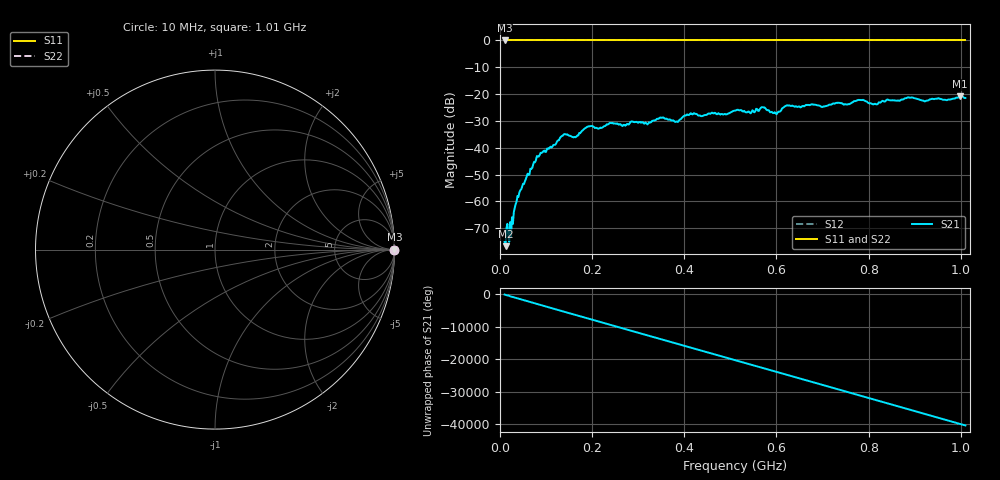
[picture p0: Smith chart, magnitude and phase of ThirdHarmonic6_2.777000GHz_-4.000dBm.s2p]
! 8/17/2025 7:05:53 AM
! C:\ANRITSUVNA\TEMP\TEMP.S2P
! CHANNEL.1
! TR.MEASUREMENT
! RAW.DATA
! RF.CORRECTION.OFF
! AVERAGING.OFF
! IF.BANDWIDTH: 5KHZ
! SWEEPTYPE:  FREQ.SWEEP(Linear)
! Reference Plane Port Info
! PORT:  PORT1  PORT2
! DISTANCE:  0  m  0  m
! TIME:  0  s  0  s
! PHASE.OFFSET:  0  deg.  0  deg.
! LOSS:  0  dB  0  dB
! REF.LOSS:  0  dB  0  dB
! REF.FREQ:  0  Hz  0  Hz
! Power Info
! POWER:  -20  dBm  -20  dBm
! EFF.POWER:  -20  dBm  -20  dBm
! SOURCE.ATTEN:  0  dB  0  dB
! TEST.ATTEN:  0  dB  0  dB
# GHZ S RI R 50.0
! FREQ.GHZ  S11RE  S11IM  S21RE  S21IM  S12RE  S12IM  S22RE  S22IM
!; PortSelection: Port_12
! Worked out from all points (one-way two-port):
!   501 points, 10 MHz to 1.01 GHz, reference 50 ohm
!   highest |S21| = -20.82 dB at 998 MHz (marker M1); lowest = -76.7 dB at 12 MHz (marker M2)
!   lowest |S11| = 0.0 dB at 10 MHz (marker M3)
!   |S11| at or under -10 dB: nowhere
!   |S22| runs from 0.0 to 0.0 dB; largest |S21 - S12| = 1.1
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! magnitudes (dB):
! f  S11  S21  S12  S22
! 10 MHz  0.0  -75.1  0.0  0.0
! 12 MHz  0.0  -76.7  0.0  0.0
! 24 MHz  0.0  -73.0  0.0  0.0
! 34 MHz  0.0  -61.0  0.0  0.0
! 42 MHz  0.0  -56.7  0.0  0.0
! 84 MHz  0.0  -43.3  0.0  0.0
! 138 MHz  0.0  -35.1  0.0  0.0
! 162 MHz  0.0  -35.9  0.0  0.0
! 178 MHz  0.0  -33.7  0.0  0.0
! 194 MHz  0.0  -32.0  0.0  0.0
! 318 MHz  0.0  -30.9  0.0  0.0
! 344 MHz  0.0  -29.2  0.0  0.0
! 384 MHz  0.0  -30.2  0.0  0.0
! 410 MHz  0.0  -27.8  0.0  0.0
! 510 MHz  0.0  -26.1  0.0  0.0
! 570 MHz  0.0  -24.9  0.0  0.0
! 598 MHz  0.0  -27.0  0.0  0.0
! 622 MHz  0.0  -24.2  0.0  0.0
! 678 MHz  0.0  -23.8  0.0  0.0
! 844 MHz  0.0  -22.2  0.0  0.0
! 998 MHz  0.0  -20.8  0.0  0.0
! 1.01 GHz  0.0  -21.4  0.0  0.0
